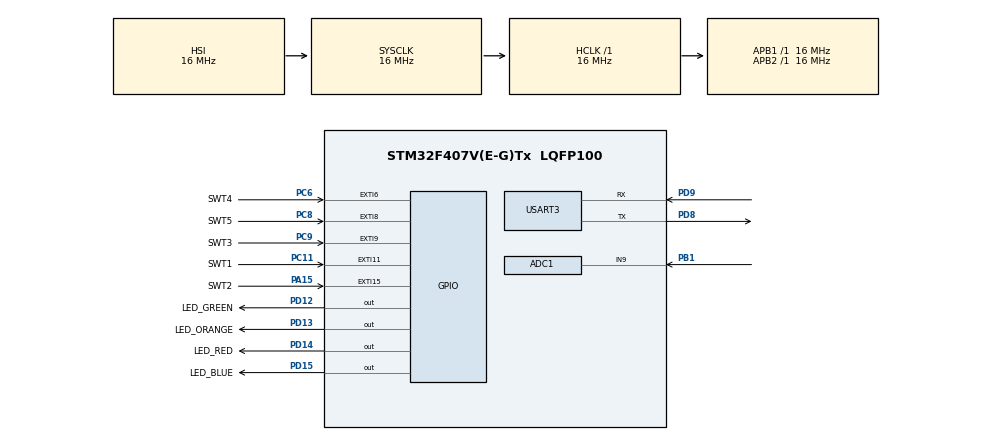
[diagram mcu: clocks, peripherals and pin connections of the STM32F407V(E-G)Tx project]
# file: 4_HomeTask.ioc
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ADC1.Channel-0\#ChannelRegularConversion=ADC_CHANNEL_9
ADC1.ContinuousConvMode=ENABLE
ADC1.NbrOfConversionFlag=1
ADC1.Rank-0\#ChannelRegularConversion=1
ADC1.SamplingTime-0\#ChannelRegularConversion=ADC_SAMPLETIME_480CYCLES
ADC1.ScanConvMode=DISABLE
ADC1.master=1
Mcu.Family=STM32F4
Mcu.Name=STM32F407V(E-G)Tx
Mcu.Package=LQFP100
NVIC.EXTI15_10_IRQn=true\:0\:0\:false\:false\:true\:true\:true
NVIC.EXTI9_5_IRQn=true\:0\:0\:false\:false\:true\:true\:true
NVIC.PriorityGroup=NVIC_PRIORITYGROUP_4
PA15.GPIO_Label=SWT2
PA15.GPIO_ModeDefaultEXTI=GPIO_MODE_IT_FALLING
PA15.Signal=GPXTI15
PB1.Signal=ADCx_IN9
PC11.GPIO_Label=SWT1
PC11.GPIO_ModeDefaultEXTI=GPIO_MODE_IT_FALLING
PC11.Signal=GPXTI11
PC6.GPIO_Label=SWT4
PC6.GPIO_ModeDefaultEXTI=GPIO_MODE_IT_FALLING
PC6.Signal=GPXTI6
PC8.GPIO_Label=SWT5
PC8.GPIO_ModeDefaultEXTI=GPIO_MODE_IT_FALLING
PC8.Signal=GPXTI8
PC9.GPIO_Label=SWT3
PC9.GPIO_ModeDefaultEXTI=GPIO_MODE_IT_FALLING
PC9.Signal=GPXTI9
PD12.GPIO_Label=LED_GREEN
PD12.GPIO_PuPd=GPIO_PULLDOWN
PD12.Signal=GPIO_Output
PD13.GPIO_Label=LED_ORANGE
PD13.GPIO_PuPd=GPIO_PULLDOWN
PD13.Signal=GPIO_Output
PD14.GPIO_Label=LED_RED
PD14.GPIO_PuPd=GPIO_PULLDOWN
PD14.Signal=GPIO_Output
PD15.GPIO_Label=LED_BLUE
PD15.GPIO_PuPd=GPIO_PULLDOWN
PD15.Signal=GPIO_Output
PD8.Mode=Asynchronous
PD8.Signal=USART3_TX
PD9.Mode=Asynchronous
PD9.Signal=USART3_RX
ProjectManager.HeapSize=0x200
ProjectManager.StackSize=0x400
ProjectManager.TargetToolchain=STM32CubeIDE
RCC.AHBFreq_Value=16000000
RCC.APB1Freq_Value=16000000
RCC.APB2Freq_Value=16000000
RCC.CortexFreq_Value=16000000
RCC.HSE_VALUE=25000000
RCC.HSI_VALUE=16000000
RCC.LSE_VALUE=32768
RCC.SYSCLKFreq_VALUE=16000000
RCC.VCOOutputFreq_Value=192000000
SH.ADCx_IN9.0=ADC1_IN9,IN9
USART3.VirtualMode=VM_ASYNC
board=custom

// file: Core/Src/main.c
/* USER CODE BEGIN Header */
/**
 ******************************************************************************
 * @file           : main.c
 * @brief          : Main program body
 ******************************************************************************
 * @attention
 *
 * <h2><center>&copy; Copyright (c) 2021 STMicroelectronics.
 * All rights reserved.</center></h2>
 *
 * This software component is licensed by ST under BSD 3-Clause license,
 * the "License"; You may not use this file except in compliance with the
 * License. You may obtain a copy of the License at:
 *                        opensource.org/licenses/BSD-3-Clause
 *
 ******************************************************************************
 */
/* USER CODE END Header */
#include "main.h"
#include <stdio.h>
#include <string.h>

/* USER CODE BEGIN PD */
#define TEMPERATURE_DELAY 5000 //temperature sensor polling time, ms
#define MAX_LEN 100 // max length of string
/* USER CODE END PD */

ADC_HandleTypeDef hadc1;

UART_HandleTypeDef huart3;

/* USER CODE BEGIN PV */
volatile uint32_t temperature_timer = 0; //see stm32f4xx_it.c line 45,187
char clr_scr[5] =
{ 0x1B, 0x5B, 0x32, 0x4A }; //clear screen command to console
/* USER CODE END PV */

void SystemClock_Config(void);
static void MX_GPIO_Init(void);
static void MX_ADC1_Init(void);
static void MX_USART3_UART_Init(void);

/* USER CODE BEGIN 0 */

void ToogleLED_and_UARTTx(GPIO_TypeDef *GPIOx, uint16_t GPIO_Pin, UART_HandleTypeDef *huart, uint8_t *pData_on, uint8_t *pData_off)
{
	HAL_GPIO_TogglePin(GPIOx, GPIO_Pin);
	if (HAL_GPIO_ReadPin(GPIOx, GPIO_Pin) == GPIO_PIN_SET)
		HAL_UART_Transmit(huart, (uint8_t*) pData_on, strlen((char*) pData_on), 10);
	else
		HAL_UART_Transmit(huart, (uint8_t*) pData_off, strlen((char*) pData_off), 10);
}
void HAL_GPIO_EXTI_Callback(uint16_t GPIO_Pin)
{
	switch (GPIO_Pin)
	{
	case SWT1_Pin:
		ToogleLED_and_UARTTx(GPIOD, LED_BLUE_Pin, &huart3, (uint8_t*) "LED Blue ON\r\n", (uint8_t*) "LED Blue OFF\r\n");
		break;
	case SWT3_Pin:
		ToogleLED_and_UARTTx(GPIOD, LED_ORANGE_Pin, &huart3, (uint8_t*) "LED Orange ON\r\n", (uint8_t*) "LED Orange OFF\r\n");
		break;
	case SWT4_Pin:
		ToogleLED_and_UARTTx(GPIOD, LED_RED_Pin, &huart3, (uint8_t*) "LED Red ON\r\n", (uint8_t*) "LED Red OFF\r\n");
		break;
	case SWT5_Pin:
		ToogleLED_and_UARTTx(GPIOD, LED_GREEN_Pin, &huart3, (uint8_t*) "LED Green ON\r\n", (uint8_t*) "LED Green OFF\r\n");
		break;
	case SWT2_Pin:
		HAL_UART_Transmit(&huart3, (uint8_t*) "Invalid key!\r\n", strlen("Invalid key!\r\n"), 10);
		break;
	}
}

void UARTRx(void)
{
	uint8_t rcvBuf;
	HAL_StatusTypeDef result;
	result = HAL_UART_Receive(&huart3, &rcvBuf, 1, 10);
	if (result == HAL_OK)
		switch (rcvBuf)
		{
		case '2': //analogue of the SWT1 button on the board
			ToogleLED_and_UARTTx(GPIOD, LED_BLUE_Pin, &huart3, (uint8_t*) "LED Blue ON\r\n", (uint8_t*) "LED Blue OFF\r\n");
			break;
		case '8': //analogue of the SWT3 button on the board
			ToogleLED_and_UARTTx(GPIOD, LED_ORANGE_Pin, &huart3, (uint8_t*) "LED Orange ON\r\n", (uint8_t*) "LED Orange OFF\r\n");
			break;
		case '6': //analogue of the SWT4 button on the board
			ToogleLED_and_UARTTx(GPIOD, LED_RED_Pin, &huart3, (uint8_t*) "LED Red ON\r\n", (uint8_t*) "LED Red OFF\r\n");
			break;
		case '4': //analogue of the SWT5 button on the board
			ToogleLED_and_UARTTx(GPIOD, LED_GREEN_Pin, &huart3, (uint8_t*) "LED Green ON\r\n", (uint8_t*) "LED Green OFF\r\n");
			break;
		default: //analogue of the SWT2 button on the board
			HAL_UART_Transmit(&huart3, (uint8_t*) "Invalid key!\r\n", strlen("Invalid key!\r\n"), 10);
			break;
		}
}

void GetExternalTemperature(void)
{
	volatile HAL_StatusTypeDef adcPoolResult;
	uint32_t valueExTemp = 0;
	int32_t externalTemp = 0;
	HAL_ADC_Start(&hadc1);
	adcPoolResult = HAL_ADC_PollForConversion(&hadc1, 100);
	if (adcPoolResult == HAL_OK)
	{
		valueExTemp = HAL_ADC_GetValue(&hadc1); // read value from external temperature sensor
		externalTemp = ((4095 - valueExTemp) * 124) / 4096 - 24; //convert value to temperature in the range from -24 to 100°C.

		char temperatureStr[MAX_LEN] =
		{ 0 };
		HAL_UART_Transmit(&huart3, (uint8_t*) &clr_scr, strlen(clr_scr), 10);
		sprintf(temperatureStr, "External temperature: %ld\u00B0C\r\n", externalTemp);
		HAL_UART_Transmit(&huart3, (uint8_t*) &temperatureStr, strlen(temperatureStr), 10);
	}
	HAL_ADC_Stop(&hadc1);
}

/* USER CODE END 0 */

int main(void)
{

	/* MCU Configuration--------------------------------------------------------*/

	/* Reset of all peripherals, Initializes the Flash interface and the Systick. */
	HAL_Init();

	/* Configure the system clock */
	SystemClock_Config();

	/* Initialize all configured peripherals */
	MX_GPIO_Init();
	MX_ADC1_Init();
	MX_USART3_UART_Init();

	/* Infinite loop */
	/* USER CODE BEGIN WHILE */
	while (1)
	{
		temperature_timer = 0; //see stm32f4xx_it.c line 45,187
		while (temperature_timer < TEMPERATURE_DELAY)
		{
			UARTRx(); //receiving data from UART
		}
		GetExternalTemperature();
		/* USER CODE END WHILE */

	}
}

void SystemClock_Config(void)
{
	RCC_OscInitTypeDef RCC_OscInitStruct =
	{ 0 };
	RCC_ClkInitTypeDef RCC_ClkInitStruct =
	{ 0 };

	/** Configure the main internal regulator output voltage
	 */
	__HAL_RCC_PWR_CLK_ENABLE();
	__HAL_PWR_VOLTAGESCALING_CONFIG(PWR_REGULATOR_VOLTAGE_SCALE1);
	/** Initializes the RCC Oscillators according to the specified parameters
	 * in the RCC_OscInitTypeDef structure.
	 */
	RCC_OscInitStruct.OscillatorType = RCC_OSCILLATORTYPE_HSI;
	RCC_OscInitStruct.HSIState = RCC_HSI_ON;
	RCC_OscInitStruct.HSICalibrationValue = RCC_HSICALIBRATION_DEFAULT;
	RCC_OscInitStruct.PLL.PLLState = RCC_PLL_NONE;
	if (HAL_RCC_OscConfig(&RCC_OscInitStruct) != HAL_OK)
	{
		Error_Handler();
	}
	/** Initializes the CPU, AHB and APB buses clocks
	 */
	RCC_ClkInitStruct.ClockType = RCC_CLOCKTYPE_HCLK | RCC_CLOCKTYPE_SYSCLK | RCC_CLOCKTYPE_PCLK1 | RCC_CLOCKTYPE_PCLK2;
	RCC_ClkInitStruct.SYSCLKSource = RCC_SYSCLKSOURCE_HSI;
	RCC_ClkInitStruct.AHBCLKDivider = RCC_SYSCLK_DIV1;
	RCC_ClkInitStruct.APB1CLKDivider = RCC_HCLK_DIV1;
	RCC_ClkInitStruct.APB2CLKDivider = RCC_HCLK_DIV1;

	if (HAL_RCC_ClockConfig(&RCC_ClkInitStruct, FLASH_LATENCY_0) != HAL_OK)
	{
		Error_Handler();
	}
}

static void MX_ADC1_Init(void)
{

	ADC_ChannelConfTypeDef sConfig =
	{ 0 };

	/** Configure the global features of the ADC (Clock, Resolution, Data Alignment and number of conversion)
	 */
	hadc1.Instance = ADC1;
	hadc1.Init.ClockPrescaler = ADC_CLOCK_SYNC_PCLK_DIV2;
	hadc1.Init.Resolution = ADC_RESOLUTION_12B;
	hadc1.Init.ScanConvMode = DISABLE;
	hadc1.Init.ContinuousConvMode = ENABLE;
	hadc1.Init.DiscontinuousConvMode = DISABLE;
	hadc1.Init.ExternalTrigConvEdge = ADC_EXTERNALTRIGCONVEDGE_NONE;
	hadc1.Init.ExternalTrigConv = ADC_SOFTWARE_START;
	hadc1.Init.DataAlign = ADC_DATAALIGN_RIGHT;
	hadc1.Init.NbrOfConversion = 1;
	hadc1.Init.DMAContinuousRequests = DISABLE;
	hadc1.Init.EOCSelection = ADC_EOC_SINGLE_CONV;
	if (HAL_ADC_Init(&hadc1) != HAL_OK)
	{
		Error_Handler();
	}
	/** Configure for the selected ADC regular channel its corresponding rank in the sequencer and its sample time.
	 */
	sConfig.Channel = ADC_CHANNEL_9;
	sConfig.Rank = 1;
	sConfig.SamplingTime = ADC_SAMPLETIME_480CYCLES;
	if (HAL_ADC_ConfigChannel(&hadc1, &sConfig) != HAL_OK)
	{
		Error_Handler();
	}

}

static void MX_USART3_UART_Init(void)
{

	huart3.Instance = USART3;
	huart3.Init.BaudRate = 115200;
	huart3.Init.WordLength = UART_WORDLENGTH_8B;
	huart3.Init.StopBits = UART_STOPBITS_1;
	huart3.Init.Parity = UART_PARITY_NONE;
	huart3.Init.Mode = UART_MODE_TX_RX;
	huart3.Init.HwFlowCtl = UART_HWCONTROL_NONE;
	huart3.Init.OverSampling = UART_OVERSAMPLING_16;
	if (HAL_UART_Init(&huart3) != HAL_OK)
	{
		Error_Handler();
	}

}

static void MX_GPIO_Init(void)
{
	GPIO_InitTypeDef GPIO_InitStruct =
	{ 0 };

	/* GPIO Ports Clock Enable */
	__HAL_RCC_GPIOB_CLK_ENABLE();
	__HAL_RCC_GPIOD_CLK_ENABLE();
	__HAL_RCC_GPIOC_CLK_ENABLE();
	__HAL_RCC_GPIOA_CLK_ENABLE();

	/*Configure GPIO pin Output Level */
	HAL_GPIO_WritePin(GPIOD, LED_GREEN_Pin | LED_ORANGE_Pin | LED_RED_Pin | LED_BLUE_Pin, GPIO_PIN_RESET);

	/*Configure GPIO pins : LED_GREEN_Pin LED_ORANGE_Pin LED_RED_Pin LED_BLUE_Pin */
	GPIO_InitStruct.Pin = LED_GREEN_Pin | LED_ORANGE_Pin | LED_RED_Pin | LED_BLUE_Pin;
	GPIO_InitStruct.Mode = GPIO_MODE_OUTPUT_PP;
	GPIO_InitStruct.Pull = GPIO_PULLDOWN;
	GPIO_InitStruct.Speed = GPIO_SPEED_FREQ_LOW;
	HAL_GPIO_Init(GPIOD, &GPIO_InitStruct);

	/*Configure GPIO pins : SWT4_Pin SWT5_Pin SWT3_Pin SWT1_Pin */
	GPIO_InitStruct.Pin = SWT4_Pin | SWT5_Pin | SWT3_Pin | SWT1_Pin;
	GPIO_InitStruct.Mode = GPIO_MODE_IT_FALLING;
	GPIO_InitStruct.Pull = GPIO_NOPULL;
	HAL_GPIO_Init(GPIOC, &GPIO_InitStruct);

	/*Configure GPIO pin : SWT2_Pin */
	GPIO_InitStruct.Pin = SWT2_Pin;
	GPIO_InitStruct.Mode = GPIO_MODE_IT_FALLING;
	GPIO_InitStruct.Pull = GPIO_NOPULL;
	HAL_GPIO_Init(SWT2_GPIO_Port, &GPIO_InitStruct);

	/* EXTI interrupt init*/
	HAL_NVIC_SetPriority(EXTI9_5_IRQn, 0, 0);
	HAL_NVIC_EnableIRQ(EXTI9_5_IRQn);

	HAL_NVIC_SetPriority(EXTI15_10_IRQn, 0, 0);
	HAL_NVIC_EnableIRQ(EXTI15_10_IRQn);

}

void Error_Handler(void)
{
	__disable_irq();
	while (1)
	{
	}
}

/************************ (C) COPYRIGHT STMicroelectronics *****END OF FILE****/
